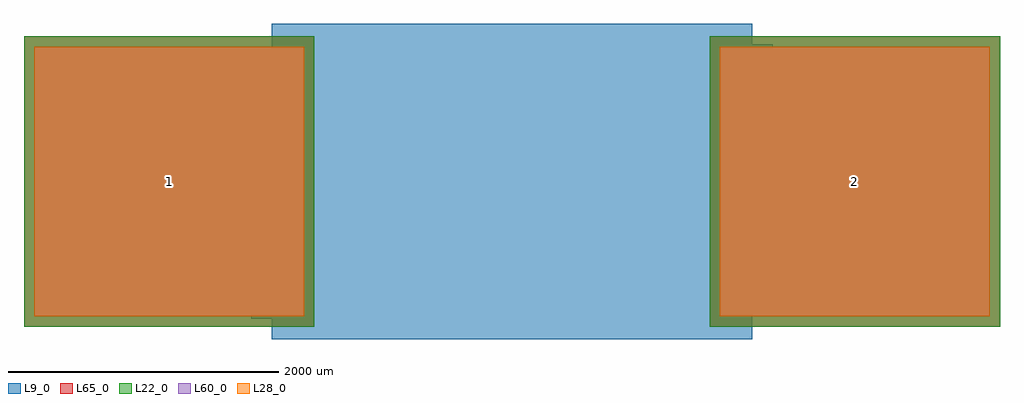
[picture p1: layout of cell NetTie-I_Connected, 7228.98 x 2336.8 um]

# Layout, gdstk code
import gdstk
lib = gdstk.Library(unit=1e-6, precision=1e-09)
def R(c, l, rs):  # rectangles x0, y0, x1, y1
    for r in rs: c.add(gdstk.rectangle(r[:2], r[2:], *l))
L9_0 = (9, 0)
L22_0 = (22, 0)
L28_0 = (28, 0)
L60_0 = (60, 0)
L65_0 = (65, 0)

nettie_i_connected = lib.new_cell('NetTie-I_Connected')
R(nettie_i_connected, L22_0, [(-3614.49,-1074.49,-1465.51,1074.49), (1465.51,-1074.49,3614.49,1074.49)])
R(nettie_i_connected, L28_0, [(-3539.49,-999.49,-1540.51,999.49), (1540.51,-999.49,3539.49,999.49)])
R(nettie_i_connected, L60_0, [(-3539.49,-999.49,-1540.51,999.49), (1540.51,-999.49,3539.49,999.49)])
R(nettie_i_connected, L65_0, [(-3614.49,-1074.49,-1465.51,1074.49), (1465.51,-1074.49,3614.49,1074.49)])
nettie_i_connected.add(gdstk.FlexPath([(1778,-1016),(-1778,-1016)], 304.8, ends="flush", simple_path=True, layer=9, datatype=0))  # L9_0
nettie_i_connected.add(gdstk.FlexPath([(-1778,-762),(1778,-762)], 304.8, ends="flush", simple_path=True, layer=9, datatype=0))  # L9_0
nettie_i_connected.add(gdstk.FlexPath([(1778,-508),(-1778,-508)], 304.8, ends="flush", simple_path=True, layer=9, datatype=0))  # L9_0
nettie_i_connected.add(gdstk.FlexPath([(-1778,-254),(1778,-254)], 304.8, ends="flush", simple_path=True, layer=9, datatype=0))  # L9_0
nettie_i_connected.add(gdstk.FlexPath([(1778,0),(-1778,0)], 304.8, ends="flush", simple_path=True, layer=9, datatype=0))  # L9_0
nettie_i_connected.add(gdstk.FlexPath([(-1778,254),(1778,254)], 304.8, ends="flush", simple_path=True, layer=9, datatype=0))  # L9_0
nettie_i_connected.add(gdstk.FlexPath([(1778,508),(-1778,508)], 304.8, ends="flush", simple_path=True, layer=9, datatype=0))  # L9_0
nettie_i_connected.add(gdstk.FlexPath([(-1778,762),(1778,762)], 304.8, ends="flush", simple_path=True, layer=9, datatype=0))  # L9_0
nettie_i_connected.add(gdstk.FlexPath([(1778,1016),(-1778,1016)], 304.8, ends="flush", simple_path=True, layer=9, datatype=0))  # L9_0
nettie_i_connected.add(gdstk.FlexPath([(1778,1016),(-1778,1016)], 304.8, ends="flush", simple_path=True, layer=9, datatype=0))  # L9_0
nettie_i_connected.add(gdstk.FlexPath([(1778,762),(1778,1016)], 304.8, ends="flush", simple_path=True, layer=9, datatype=0))  # L9_0
nettie_i_connected.add(gdstk.FlexPath([(-1778,762),(1778,762)], 304.8, ends="flush", simple_path=True, layer=9, datatype=0))  # L9_0
nettie_i_connected.add(gdstk.FlexPath([(-1778,508),(-1778,762)], 304.8, ends="flush", simple_path=True, layer=9, datatype=0))  # L9_0
nettie_i_connected.add(gdstk.FlexPath([(1778,508),(-1778,508)], 304.8, ends="flush", simple_path=True, layer=9, datatype=0))  # L9_0
nettie_i_connected.add(gdstk.FlexPath([(1778,254),(1778,508)], 304.8, ends="flush", simple_path=True, layer=9, datatype=0))  # L9_0
nettie_i_connected.add(gdstk.FlexPath([(-1778,254),(1778,254)], 304.8, ends="flush", simple_path=True, layer=9, datatype=0))  # L9_0
nettie_i_connected.add(gdstk.FlexPath([(-1778,0),(-1778,254)], 304.8, ends="flush", simple_path=True, layer=9, datatype=0))  # L9_0
nettie_i_connected.add(gdstk.FlexPath([(1778,0),(-1778,0)], 304.8, ends="flush", simple_path=True, layer=9, datatype=0))  # L9_0
nettie_i_connected.add(gdstk.FlexPath([(1778,-254),(1778,0)], 304.8, ends="flush", simple_path=True, layer=9, datatype=0))  # L9_0
nettie_i_connected.add(gdstk.FlexPath([(-1778,-254),(1778,-254)], 304.8, ends="flush", simple_path=True, layer=9, datatype=0))  # L9_0
nettie_i_connected.add(gdstk.FlexPath([(-1778,-508),(-1778,-254)], 304.8, ends="flush", simple_path=True, layer=9, datatype=0))  # L9_0
nettie_i_connected.add(gdstk.FlexPath([(1778,-508),(-1778,-508)], 304.8, ends="flush", simple_path=True, layer=9, datatype=0))  # L9_0
nettie_i_connected.add(gdstk.FlexPath([(1778,-762),(1778,-508)], 304.8, ends="flush", simple_path=True, layer=9, datatype=0))  # L9_0
nettie_i_connected.add(gdstk.FlexPath([(-1778,-762),(1778,-762)], 304.8, ends="flush", simple_path=True, layer=9, datatype=0))  # L9_0
nettie_i_connected.add(gdstk.FlexPath([(-1778,-1016),(-1778,-762)], 304.8, ends="flush", simple_path=True, layer=9, datatype=0))  # L9_0
nettie_i_connected.add(gdstk.FlexPath([(1778,-1016),(-1778,-1016)], 304.8, ends="flush", simple_path=True, layer=9, datatype=0))  # L9_0
nettie_i_connected.add(gdstk.Label('2', (2540,0), layer=28, texttype=0))
nettie_i_connected.add(gdstk.Label('1', (-2540,0), layer=28, texttype=0))
nettie_i_connected.add(gdstk.Label('type', (0,3048), layer=9, texttype=0))
nettie_i_connected.add(gdstk.Label('devicename', (-40.64,-4069.08), layer=9, texttype=0))

lib.write_gds('NetTie-I_Connected.gds')
